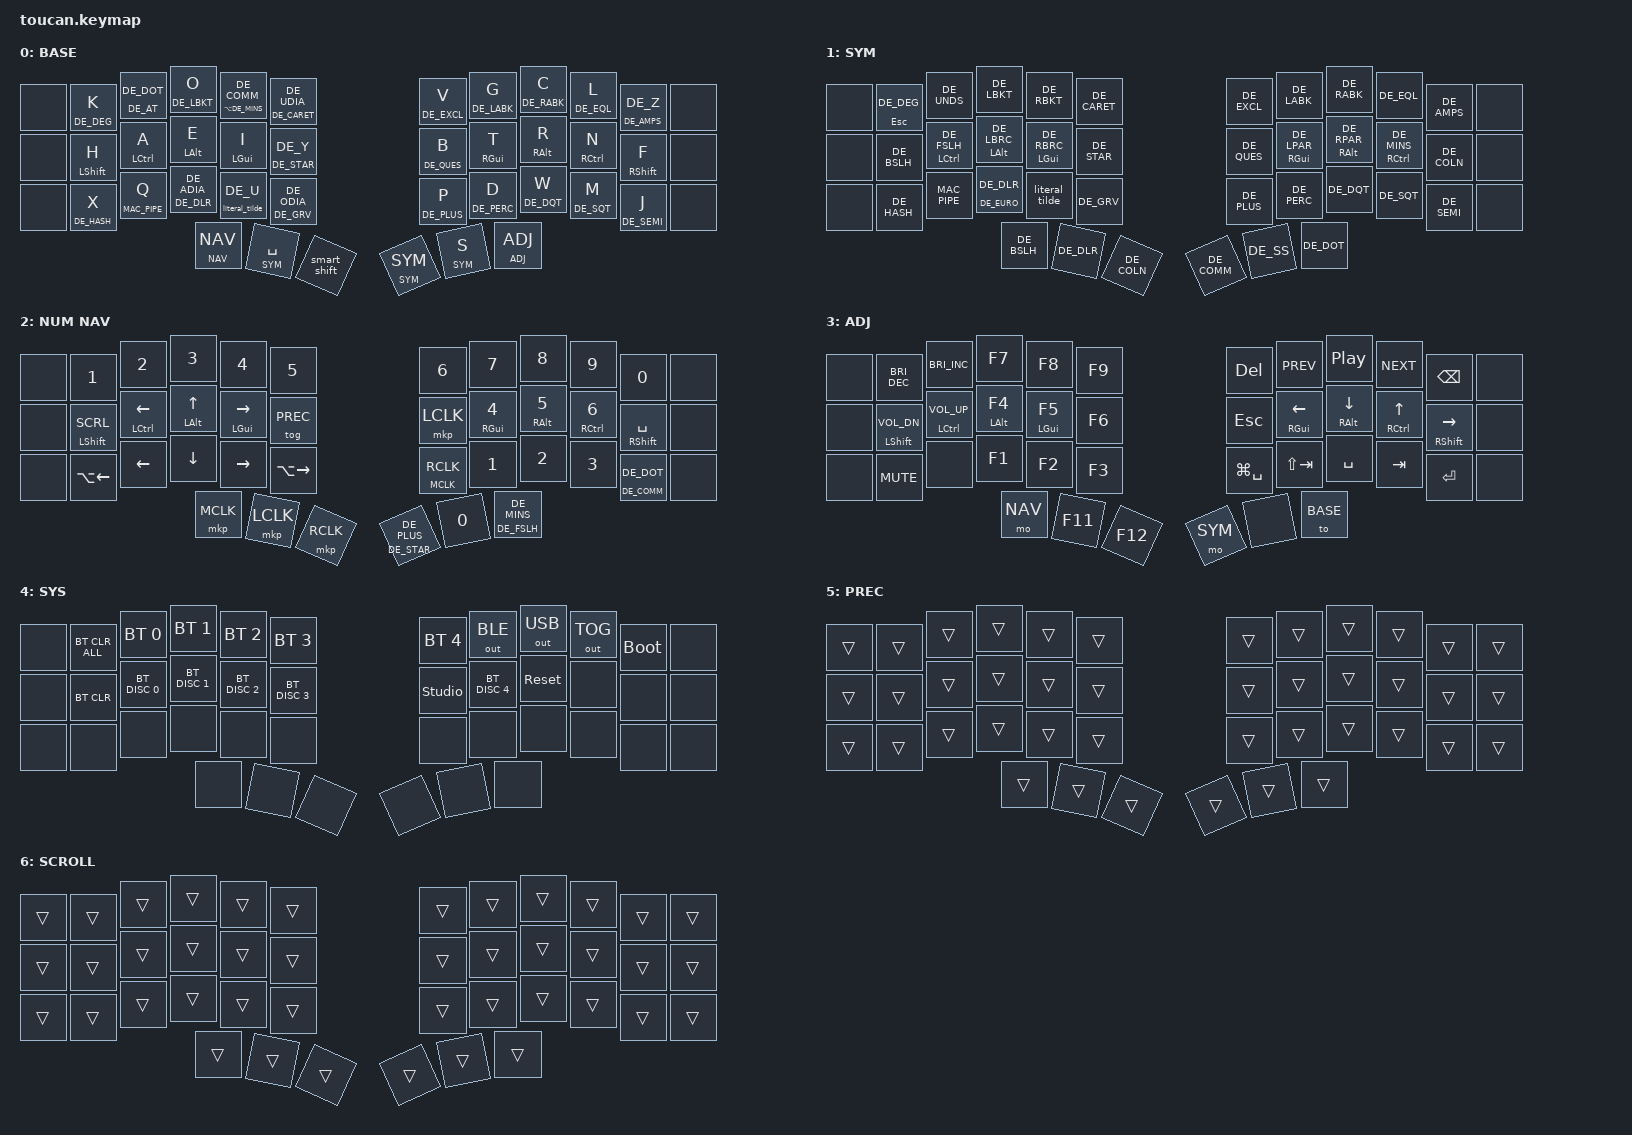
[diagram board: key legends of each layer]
#include "keymap_german.h"
#include <behaviors.dtsi>
#include <dt-bindings/zmk/mouse.h>
#include <dt-bindings/zmk/pointing.h>
#include <dt-bindings/zmk/bt.h>
#include <dt-bindings/zmk/keys.h>
#include <dt-bindings/zmk/outputs.h>

#define BASE 0
#define SYM  1
#define NAV  2
#define ADJ  3
#define SYS  4
#define PREC 5
#define SCRL 6

&mt {
    flavor = "tap-preferred";
    tapping-term-ms = <200>;
};

&sk {
    release-after-ms = <500>;
    quick-release;
};

/ {
    combos {
        compatible = "zmk,combos";

        combo_esc {
            timeout-ms = <40>;
            key-positions = <27 28>;
            bindings = <&kp ESC>;
            require-prior-idle-ms = <250>;
        };

        combo_up {
            timeout-ms = <40>;
            key-positions = <8 9>;
            bindings = <&kp UP>;
            require-prior-idle-ms = <250>;
        };

        page_up {
            timeout-ms = <40>;
            key-positions = <7 8 9>;
            bindings = <&kp PAGE_UP>;
            require-prior-idle-ms = <250>;
        };

        combo_down {
            timeout-ms = <40>;
            key-positions = <32 33>;
            bindings = <&kp DOWN>;
            require-prior-idle-ms = <250>;
        };

        page_down {
            timeout-ms = <40>;
            key-positions = <31 32 33>;
            bindings = <&kp PAGE_DOWN>;
            require-prior-idle-ms = <250>;
        };

        combo_left {
            timeout-ms = <40>;
            key-positions = <19 20>;
            bindings = <&kp LEFT>;
            require-prior-idle-ms = <250>;
        };

        combo_right {
            timeout-ms = <40>;
            key-positions = <20 21>;
            bindings = <&kp RIGHT>;
            require-prior-idle-ms = <250>;
        };

        combo_enter {
            timeout-ms = <40>;
            key-positions = <31 32>;
            bindings = <&kp RET>;
            require-prior-idle-ms = <250>;
        };

        combo_system {
            timeout-ms = <40>;
            key-positions = <36 41>;
            bindings = <&mo SYS>;
            require-prior-idle-ms = <250>;
        };

        combo_backspace_hr {
            timeout-ms = <40>;
            key-positions = <21 22>;
            bindings = <&kp BSPC>;
            require-prior-idle-ms = <250>;
        };

        combo_backspace_lz {
            timeout-ms = <40>;
            key-positions = <9 10>;
            bindings = <&kp BSPC>;
            require-prior-idle-ms = <250>;
        };

        combo_tab {
            timeout-ms = <40>;
            key-positions = <14 15>;
            bindings = <&kp TAB>;
            require-prior-idle-ms = <300>;
        };

        combo_shift_tab {
            timeout-ms = <40>;
            key-positions = <26 27>;
            bindings = <&kp LS(TAB)>;
            require-prior-idle-ms = <300>;
        };

        combo_copy {
            timeout-ms = <40>;
            key-positions = <14 3>;
            bindings = <&kp LG(C)>;
            require-prior-idle-ms = <300>;
        };

        combo_cut {
            timeout-ms = <40>;
            key-positions = <13 3>;
            bindings = <&kp LG(X)>;
            require-prior-idle-ms = <300>;
        };

        combo_paste {
            timeout-ms = <40>;
            key-positions = <16 3>;
            bindings = <&kp LG(V)>;
            require-prior-idle-ms = <500>;
        };

        combo_undo {
            timeout-ms = <40>;
            key-positions = <2 3>;
            bindings = <&kp LG(DE_Z)>;
            require-prior-idle-ms = <350>;
        };

        combo_redo {
            timeout-ms = <40>;
            key-positions = <3 4>;
            bindings = <&kp LG(LS(DE_Z))>;
            require-prior-idle-ms = <350>;
        };

        combo_del {
            timeout-ms = <40>;
            key-positions = <33 34>;
            bindings = <&kp DEL>;
            require-prior-idle-ms = <250>;
        };
    };

    macros {
        literal_tilde: literal_tilde {
            compatible = "zmk,behavior-macro";
            #binding-cells = <0>;
            wait-ms = <30>;
            tap-ms = <30>;
            bindings = <&macro_tap>, <&kp DE_TILD &kp SPACE>;
        };
    };

    behaviors {
        hml: homerow_mods_left {
            compatible = "zmk,behavior-hold-tap";
            #binding-cells = <2>;
            flavor = "balanced";
            tapping-term-ms = <280>;
            quick-tap-ms = <175>;
            require-prior-idle-ms = <150>;
            bindings = <&kp>, <&kp>;
            hold-trigger-key-positions = <6 7 8 9 10 18 19 20 21 22 30 31 32 33 34 36 37 38 39 40 41>;
            hold-trigger-on-release;
        };

        hmr: homerow_mods_right {
            compatible = "zmk,behavior-hold-tap";
            #binding-cells = <2>;
            flavor = "balanced";
            tapping-term-ms = <280>;
            quick-tap-ms = <175>;
            require-prior-idle-ms = <150>;
            bindings = <&kp>, <&kp>;
            hold-trigger-key-positions = <1 2 3 4 5 13 14 15 16 17 25 26 27 28 29 36 37 38 39 40 41>;
            hold-trigger-on-release;
        };

        hml_toggle: homerow_mods_left_toggle {
            compatible = "zmk,behavior-hold-tap";
            #binding-cells = <2>;
            flavor = "balanced";
            tapping-term-ms = <280>;
            quick-tap-ms = <175>;
            require-prior-idle-ms = <150>;
            bindings = <&kp>, <&tog>;
            hold-trigger-key-positions = <6 7 8 9 10 18 19 20 21 22 30 31 32 33 34 36 37 38 39 40 41>;
            hold-trigger-on-release;
        };

        symbol_hold: symbol_hold_tap {
            compatible = "zmk,behavior-hold-tap";
            #binding-cells = <2>;
            tapping-term-ms = <200>;
            quick-tap-ms = <200>;
            require-prior-idle-ms = <180>;
            flavor = "tap-preferred";
            bindings = <&kp>, <&kp>;
        };

        tilde_hold: tilde_hold_tap {
            compatible = "zmk,behavior-hold-tap";
            #binding-cells = <2>;
            tapping-term-ms = <170>;
            require-prior-idle-ms = <160>;
            quick-tap-ms = <200>;
            flavor = "tap-preferred";
            bindings = <&literal_tilde>, <&kp>;
        };

        adj_tap: adj_tap_hold {
            compatible = "zmk,behavior-hold-tap";
            #binding-cells = <2>;
            flavor = "hold-preferred";
            tapping-term-ms = <180>;
            bindings = <&mo>, <&to>;
        };

        mouse_hold: mouse_hold_tap {
            compatible = "zmk,behavior-hold-tap";
            #binding-cells = <2>;
            tapping-term-ms = <200>;
            flavor = "tap-preferred";
            bindings = <&mkp>, <&mkp>;
        };

        hs: homerow_shifts {
            compatible = "zmk,behavior-hold-tap";
            #binding-cells = <2>;
            tapping-term-ms = <150>;
            require-prior-idle-ms = <125>;
            quick-tap-ms = <0>;
            flavor = "balanced";
            bindings = <&kp>, <&kp>;
        };

        hthl: homerow_tap_hold_layer {
            compatible = "zmk,behavior-hold-tap";
            #binding-cells = <2>;
            tapping-term-ms = <150>;
            quick-tap-ms = <0>;
            flavor = "tap-preferred";
            bindings = <&to>, <&to>;
        };

        td: tapdance {
            compatible = "zmk,behavior-hold-tap";
            #binding-cells = <2>;
            tapping-term-ms = <170>;
            require-prior-idle-ms = <160>;
            quick-tap-ms = <200>;
            flavor = "tap-preferred";
            bindings = <&kp>, <&kp>;
        };

        blt: layertap {
            compatible = "zmk,behavior-hold-tap";
            #binding-cells = <2>;
            tapping-term-ms = <150>;
            quick-tap-ms = <0>;
            flavor = "tap-preferred";
            bindings = <&to>, <&kp>;
        };

        mlt: mom_layertap {
            compatible = "zmk,behavior-hold-tap";
            #binding-cells = <2>;
            tapping-term-ms = <180>;
            require-prior-idle-ms = <125>;
            flavor = "balanced";
            bindings = <&mo>, <&kp>;
        };

        mo_to: behavior_mo_to {
            compatible = "zmk,behavior-hold-tap";
            #binding-cells = <2>;
            flavor = "hold-preferred";
            tapping-term-ms = <150>;
            bindings = <&mo>, <&sl>;
        };

        mt_caps_word_sticky_shift: mt_caps_word_sticky_shift {
            compatible = "zmk,behavior-hold-tap";
            #binding-cells = <2>;
            tapping-term-ms = <200>;
            flavor = "tap-preferred";
            bindings = <&caps_word>, <&sk>;
        };

        smart_shift: smart_shift {
            compatible = "zmk,behavior-mod-morph";
            #binding-cells = <0>;
            bindings = <&sk LSHFT>, <&caps_word>;
            mods = <(MOD_LSFT)>;
        };
    };

    keymap {
        compatible = "zmk,keymap";

        base {
            display-name = "BASE";
            bindings = <
                &none      &td DE_DEG K          &td DE_AT DE_DOT        &td DE_LBKT O         &td LA(DE_MINS) DE_COMM  &td DE_CARET DE_UDIA    &td DE_EXCL V       &td DE_LABK G       &td DE_RABK C       &td DE_EQL L       &td DE_AMPS DE_Z  &none
                &none      &hml LSHFT H          &hml LCTRL A            &hml LALT E           &hml LGUI I             &td DE_STAR DE_Y        &td DE_QUES B       &hmr RGUI T         &hmr RALT R         &hmr RCTRL N        &hmr RSHFT F      &none
                &none      &td DE_HASH X         &td MAC_PIPE Q          &td DE_DLR DE_ADIA     &tilde_hold 0 DE_U      &td DE_GRV DE_ODIA      &td DE_PLUS P       &td DE_PERC D       &td DE_DQT W        &td DE_SQT M         &td DE_SEMI J      &none
                                      &mo_to NAV NAV       &mlt SYM SPACE        &smart_shift                &mo_to SYM SYM          &mlt SYM S          &adj_tap ADJ ADJ
            >;
        };

        symbol_layer {
            display-name = "SYM";
            bindings = <
                &none      &td ESC DE_DEG       &kp DE_UNDS            &kp DE_LBKT         &kp DE_RBKT          &kp DE_CARET             &kp DE_EXCL      &kp DE_LABK       &kp DE_RABK      &kp DE_EQL             &kp DE_AMPS      &none
                &none      &kp DE_BSLH          &hml LCTRL DE_FSLH      &hml LALT DE_LBRC   &hml LGUI DE_RBRC   &kp DE_STAR              &kp DE_QUES      &hmr RGUI DE_LPAR &hmr RALT DE_RPAR &hmr RCTRL DE_MINS    &kp DE_COLN       &none
                &none      &kp DE_HASH          &kp MAC_PIPE            &symbol_hold DE_EURO DE_DLR   &literal_tilde       &kp DE_GRV               &kp DE_PLUS      &kp DE_PERC       &kp DE_DQT       &kp DE_SQT             &kp DE_SEMI      &none
                                      &kp DE_BSLH          &kp DE_DLR             &kp DE_COLN                 &kp DE_COMM          &kp DE_SS         &kp DE_DOT
            >;
        };

        num_nav_layer {
            display-name = "NUM NAV";
            bindings = <
                &none      &kp N1                       &kp N2               &kp N3              &kp N4                 &kp N5              &kp N6                    &kp N7          &kp N8           &kp N9                &kp N0                 &none
                &none      &hml_toggle LSHFT SCRL       &hml LCTRL LEFT       &hml LALT UP        &hml LGUI RIGHT         &tog PREC           &mkp LCLK      &hmr RGUI N4   &hmr RALT N5     &hmr RCTRL N6         &hmr RSHFT SPACE       &none
                &none      &kp LA(LEFT)                 &kp LEFT              &kp DOWN            &kp RIGHT               &kp LA(RIGHT)       &mouse_hold MCLK RCLK                  &kp N1          &kp N2           &kp N3                &td DE_COMM DE_DOT      &none
                                              &mkp MCLK             &mkp LCLK             &mkp RCLK                       &td DE_STAR DE_PLUS  &kp N0               &td DE_FSLH DE_MINS
            >;
        };

        adjust_layer {
            display-name = "ADJ";
            bindings = <
                &none      &kp C_BRIGHTNESS_DEC  &kp C_BRIGHTNESS_INC  &kp F7           &kp F8          &kp F9           &kp DEL             &kp C_PREV       &kp C_PLAY_PAUSE  &kp C_NEXT       &kp BSPC          &none
                &none      &hml LSHFT C_VOL_DN   &hml LCTRL C_VOL_UP   &hml LALT F4     &hml LGUI F5    &kp F6           &kp ESC             &hmr RGUI LEFT    &hmr RALT DOWN     &hmr RCTRL UP     &hmr RSHFT RIGHT  &none
                &none      &kp C_MUTE            &none                 &kp F1           &kp F2          &kp F3           &kp LG(SPACE)          &kp LS(TAB)            &kp SPACE            &kp TAB          &kp RET          &none
                                                   &mo NAV                 &kp F11             &kp F12                 &mo SYM        &none             &to BASE
            >;
        };

        system_layer {
            display-name = "SYS";
            bindings = <
                &none      &bt BT_CLR_ALL  &bt BT_SEL 0   &bt BT_SEL 1   &bt BT_SEL 2   &bt BT_SEL 3    &bt BT_SEL 4    &out OUT_BLE  &out OUT_USB  &out OUT_TOG  &bootloader  &none
                &none      &bt BT_CLR      &bt BT_DISC 0  &bt BT_DISC 1  &bt BT_DISC 2  &bt BT_DISC 3   &studio_unlock  &bt BT_DISC 4  &sys_reset    &none         &none        &none
                &none      &none           &none          &none          &none          &none           &none           &none          &none          &none         &none        &none
                                               &none          &none          &none                  &none      &none      &none
            >;
        };

        precision_mode {
            display-name = "PREC";
            bindings = <
                &trans  &trans  &trans  &trans  &trans  &trans    &trans  &trans  &trans  &trans  &trans  &trans
                &trans  &trans  &trans  &trans  &trans  &trans    &trans  &trans  &trans  &trans  &trans  &trans
                &trans  &trans  &trans  &trans  &trans  &trans    &trans  &trans  &trans  &trans  &trans  &trans
                                      &trans  &trans  &trans    &trans  &trans  &trans
            >;
        };

        scroll_mode {
            display-name = "SCROLL";
            bindings = <
                &trans  &trans  &trans  &trans  &trans  &trans    &trans  &trans  &trans  &trans  &trans  &trans
                &trans  &trans  &trans  &trans  &trans  &trans    &trans  &trans  &trans  &trans  &trans  &trans
                &trans  &trans  &trans  &trans  &trans  &trans    &trans  &trans  &trans  &trans  &trans  &trans
                                      &trans  &trans  &trans    &trans  &trans  &trans
            >;
        };
    };
};
